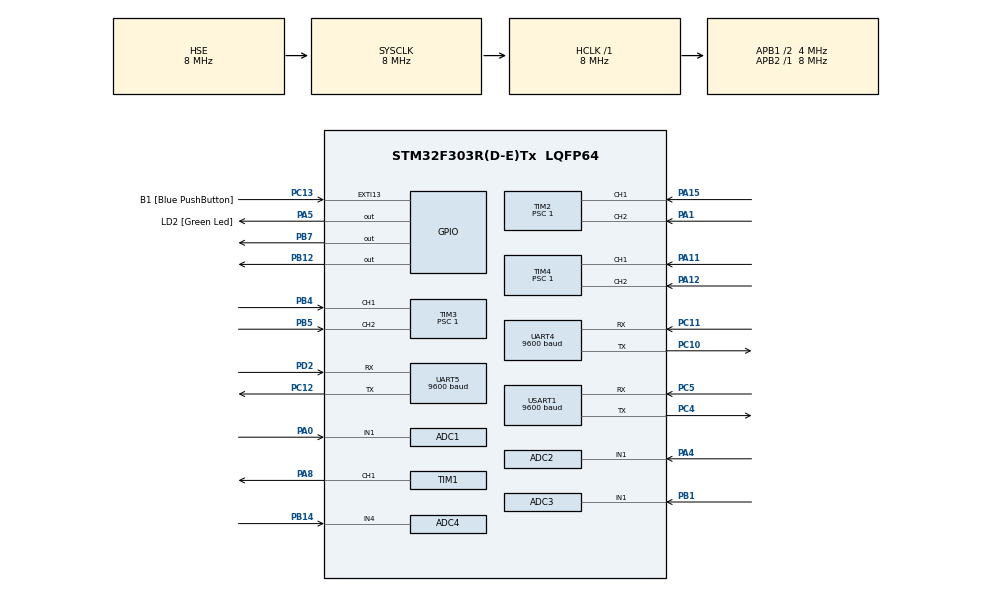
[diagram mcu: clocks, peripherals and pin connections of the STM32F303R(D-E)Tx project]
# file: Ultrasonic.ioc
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ADC1.Channel-0\#ChannelRegularConversion=ADC_CHANNEL_1
ADC1.ContinuousConvMode=DISABLE
ADC1.ExternalTrigConv=ADC_EXTERNALTRIGCONV_T8_TRGO
ADC1.NbrOfConversion=1
ADC1.NbrOfConversionFlag=1
ADC1.Offset-0\#ChannelRegularConversion=0
ADC1.OffsetNumber-0\#ChannelRegularConversion=ADC_OFFSET_NONE
ADC1.Rank-0\#ChannelRegularConversion=1
ADC1.Resolution=ADC_RESOLUTION_10B
ADC1.SamplingTime-0\#ChannelRegularConversion=ADC_SAMPLETIME_1CYCLE_5
ADC1.master=1
ADC2.Channel-0\#ChannelRegularConversion=ADC_CHANNEL_1
ADC2.ExternalTrigConv=ADC_EXTERNALTRIGCONV_T8_TRGO
ADC2.NbrOfConversionFlag=1
ADC2.Offset-0\#ChannelRegularConversion=0
ADC2.OffsetNumber-0\#ChannelRegularConversion=ADC_OFFSET_NONE
ADC2.Rank-0\#ChannelRegularConversion=1
ADC2.Resolution=ADC_RESOLUTION_10B
ADC2.SamplingTime-0\#ChannelRegularConversion=ADC_SAMPLETIME_1CYCLE_5
ADC3.Channel-0\#ChannelRegularConversion=ADC_CHANNEL_1
ADC3.ExternalTrigConv=ADC_EXTERNALTRIGCONV_T8_TRGO
ADC3.NbrOfConversionFlag=1
ADC3.Offset-0\#ChannelRegularConversion=0
ADC3.OffsetNumber-0\#ChannelRegularConversion=ADC_OFFSET_NONE
ADC3.Rank-0\#ChannelRegularConversion=1
ADC3.Resolution=ADC_RESOLUTION_10B
ADC3.SamplingTime-0\#ChannelRegularConversion=ADC_SAMPLETIME_1CYCLE_5
ADC3.master=1
ADC4.Channel-0\#ChannelRegularConversion=ADC_CHANNEL_4
ADC4.ExternalTrigConv=ADC_EXTERNALTRIGCONV_T8_TRGO
ADC4.NbrOfConversionFlag=1
ADC4.Offset-0\#ChannelRegularConversion=0
ADC4.OffsetNumber-0\#ChannelRegularConversion=ADC_OFFSET_NONE
ADC4.Rank-0\#ChannelRegularConversion=1
ADC4.Resolution=ADC_RESOLUTION_10B
ADC4.SamplingTime-0\#ChannelRegularConversion=ADC_SAMPLETIME_1CYCLE_5
Mcu.Family=STM32F3
Mcu.Name=STM32F303R(D-E)Tx
Mcu.Package=LQFP64
NVIC.ADC1_2_IRQn=true\:0\:0\:false\:false\:true\:true\:true
NVIC.ADC3_IRQn=true\:0\:0\:false\:false\:true\:true\:true
NVIC.ADC4_IRQn=true\:0\:0\:false\:false\:true\:true\:true
NVIC.PriorityGroup=NVIC_PRIORITYGROUP_0
NVIC.TIM2_IRQn=true\:0\:0\:false\:false\:true\:true\:true
NVIC.TIM3_IRQn=true\:0\:0\:false\:false\:true\:true\:true
NVIC.TIM4_IRQn=true\:0\:0\:false\:false\:true\:true\:true
NVIC.UART4_IRQn=true\:0\:0\:false\:false\:true\:true\:true
NVIC.UART5_IRQn=true\:0\:0\:false\:false\:true\:true\:true
NVIC.USART1_IRQn=true\:0\:0\:false\:false\:true\:true\:true
PA0.Mode=IN1-Single-Ended
PA0.Signal=ADC1_IN1
PA1.Signal=S_TIM2_CH2
PA11.Signal=S_TIM4_CH1
PA12.Signal=S_TIM4_CH2
PA13.GPIO_Label=TMS
PA13.Mode=Serial_Wire
PA13.Signal=SYS_JTMS-SWDIO
PA14.GPIO_Label=TCK
PA14.Mode=Serial_Wire
PA14.Signal=SYS_JTCK-SWCLK
PA15.Signal=S_TIM2_CH1_ETR
PA2.GPIO_Label=USART_TX
PA2.GPIO_Mode=GPIO_MODE_AF_PP
PA2.GPIO_PuPd=GPIO_NOPULL
PA2.GPIO_Speed=GPIO_SPEED_FREQ_LOW
PA2.Signal=USART2_TX
PA3.GPIO_Label=USART_RX
PA3.GPIO_Mode=GPIO_MODE_AF_PP
PA3.GPIO_PuPd=GPIO_NOPULL
PA3.GPIO_Speed=GPIO_SPEED_FREQ_LOW
PA3.Signal=USART2_RX
PA4.Mode=IN1-Single-Ended
PA4.Signal=ADC2_IN1
PA5.GPIO_Label=LD2 [Green Led]
PA5.GPIO_Mode=GPIO_MODE_OUTPUT_PP
PA5.GPIO_PuPd=GPIO_NOPULL
PA5.GPIO_Speed=GPIO_SPEED_FREQ_LOW
PA5.Signal=GPIO_Output
PA8.Signal=S_TIM1_CH1
PB1.Mode=IN1-Single-Ended
PB1.Signal=ADC3_IN1
PB12.Signal=GPIO_Output
PB14.Mode=IN4-Single-Ended
PB14.Signal=ADC4_IN4
PB3.GPIO_Label=SWO
PB3.Signal=SYS_JTDO-TRACESWO
PB4.Signal=S_TIM3_CH1
PB5.Signal=S_TIM3_CH2
PB7.Signal=GPIO_Output
PC10.Mode=Asynchronous
PC10.Signal=UART4_TX
PC11.Mode=Asynchronous
PC11.Signal=UART4_RX
PC12.Mode=Asynchronous
PC12.Signal=UART5_TX
PC13.GPIO_Label=B1 [Blue PushButton]
PC13.GPIO_ModeDefaultEXTI=GPIO_MODE_IT_FALLING
PC13.Signal=GPXTI13
PC14-OSC32_IN.Mode=LSE-External-Oscillator
PC14-OSC32_IN.Signal=RCC_OSC32_IN
PC15-OSC32_OUT.Mode=LSE-External-Oscillator
PC15-OSC32_OUT.Signal=RCC_OSC32_OUT
PC4.Mode=Asynchronous
PC4.Signal=USART1_TX
PC5.Mode=Asynchronous
PC5.Signal=USART1_RX
PD2.Mode=Asynchronous
PD2.Signal=UART5_RX
PF0-OSC_IN.Mode=HSE-External-Oscillator
PF0-OSC_IN.Signal=RCC_OSC_IN
PF1-OSC_OUT.Mode=HSE-External-Oscillator
PF1-OSC_OUT.Signal=RCC_OSC_OUT
ProjectManager.HeapSize=0x200
ProjectManager.StackSize=0x400
ProjectManager.TargetToolchain=MDK-ARM V5
RCC.AHBFreq_Value=8000000
RCC.APB1CLKDivider=RCC_HCLK_DIV2
RCC.APB1Freq_Value=4000000
RCC.APB1TimFreq_Value=8000000
RCC.APB2Freq_Value=8000000
RCC.APB2TimFreq_Value=8000000
RCC.CortexFreq_Value=8000000
RCC.HCLKFreq_Value=8000000
RCC.HSE_VALUE=8000000
RCC.HSI_VALUE=8000000
RCC.PLLM=8
RCC.PLLMUL=RCC_PLL_MUL9
RCC.PLLN=336
RCC.PLLP=RCC_PLLP_DIV4
RCC.PLLQ=7
RCC.PLLSourceVirtual=RCC_PLLSOURCE_HSE
RCC.RCC_PLLsource_Clock_Source_FROM_HSE=RCC_HSE_PREDIV_DIV2
RCC.SYSCLKFreq_VALUE=8000000
RCC.SYSCLKSourceVirtual=RCC_SYSCLKSOURCE_HSE
RCC.USBFreq_Value=72000000
SH.S_TIM1_CH1.0=TIM1_CH1,PWM Generation1 CH1
SH.S_TIM2_CH1_ETR.0=TIM2_CH1,Input_Capture1_from_TI1
SH.S_TIM2_CH1_ETR.1=TIM2_CH1,TriggerSource_TI1FP1
SH.S_TIM2_CH2.0=TIM2_CH2,Input_Capture2_from_TI2
SH.S_TIM3_CH1.0=TIM3_CH1,TriggerSource_TI1FP1
SH.S_TIM3_CH1.1=TIM3_CH1,Input_Capture1_from_TI1
SH.S_TIM3_CH2.0=TIM3_CH2,Input_Capture2_from_TI2
SH.S_TIM4_CH1.0=TIM4_CH1,Input_Capture1_from_TI1
SH.S_TIM4_CH1.1=TIM4_CH1,TriggerSource_TI1FP1
SH.S_TIM4_CH2.0=TIM4_CH2,Input_Capture2_from_TI2
TIM1.Channel-PWM\ Generation1\ CH1=TIM_CHANNEL_1
TIM1.Period=49999
TIM1.Prescaler=15
TIM2.Channel-Input_Capture1_from_TI1=TIM_CHANNEL_1
TIM2.Channel-Input_Capture2_from_TI2=TIM_CHANNEL_2
TIM2.ICPolarity_CH2=TIM_INPUTCHANNELPOLARITY_FALLING
TIM2.Period=65000
TIM2.Prescaler=1
TIM3.Channel-Input_Capture1_from_TI1=TIM_CHANNEL_1
TIM3.Channel-Input_Capture2_from_TI2=TIM_CHANNEL_2
TIM3.ICPolarity_CH2=TIM_INPUTCHANNELPOLARITY_FALLING
TIM3.Period=65000
TIM3.Prescaler=1
TIM4.Channel-Input_Capture1_from_TI1=TIM_CHANNEL_1
TIM4.Channel-Input_Capture2_from_TI2=TIM_CHANNEL_2
TIM4.ICPolarity_CH2=TIM_INPUTCHANNELPOLARITY_FALLING
TIM4.Period=65000
TIM4.Prescaler=1
TIM8.Period=79
TIM8.Prescaler=79
TIM8.TIM_MasterOutputTrigger=TIM_TRGO_UPDATE
UART4.BaudRate=9600
UART5.BaudRate=9600
USART1.BaudRate=9600
USART1.VirtualMode-Asynchronous=VM_ASYNC
VP_TIM1_VS_ClockSourceINT.Mode=Internal
VP_TIM2_VS_ClockSourceINT.Mode=Internal
VP_TIM2_VS_ControllerModeReset.Mode=Reset Mode
VP_TIM3_VS_ClockSourceINT.Mode=Internal
VP_TIM3_VS_ControllerModeReset.Mode=Reset Mode
VP_TIM4_VS_ClockSourceINT.Mode=Internal
VP_TIM4_VS_ControllerModeReset.Mode=Reset Mode
VP_TIM8_VS_ClockSourceINT.Mode=Internal
board=NUCLEO-F303RE

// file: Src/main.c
/* USER CODE BEGIN Header */
/**
  ******************************************************************************
  * @file           : main.c
  * @brief          : Main program body
  ******************************************************************************
  * @attention
  *
  * <h2><center>&copy; Copyright (c) 2019 STMicroelectronics.
  * All rights reserved.</center></h2>
  *
  * This software component is licensed by ST under BSD 3-Clause license,
  * the "License"; You may not use this file except in compliance with the
  * License. You may obtain a copy of the License at:
  *                        opensource.org/licenses/BSD-3-Clause
  *
  ******************************************************************************
  */
/* USER CODE END Header */

#include "main.h"

/* USER CODE BEGIN Includes */
#include <stdio.h>
/* USER CODE END Includes */

ADC_HandleTypeDef hadc1;
ADC_HandleTypeDef hadc2;
ADC_HandleTypeDef hadc3;
ADC_HandleTypeDef hadc4;

TIM_HandleTypeDef htim1;
TIM_HandleTypeDef htim2;
TIM_HandleTypeDef htim3;
TIM_HandleTypeDef htim4;
TIM_HandleTypeDef htim8;

UART_HandleTypeDef huart4;
UART_HandleTypeDef huart5;
UART_HandleTypeDef huart1;

/* USER CODE BEGIN PV */
	float duty1 = 0.01;
	int period;
	float dist_l;
	float dist_s;
	float dist_r;
	float Capture_1_l;
	float Capture_2_l;
	float Capture_1_s;
	float Capture_2_s;
	float Capture_1_r;
	float Capture_2_r;
	float x;
	float y;
	float z;
	float A_x;
	float A_y;
	float A_z;
	uint8_t data[100];
	uint8_t location[500];
	uint8_t sms_cnfg[]="AT+CMGF=1\r\n";
	uint8_t sms_MSG_SET[]="AT+CNMI=2,1,0,0,0\r\n";
	uint8_t sms_NUM[] ="AT+CMGS=\"+919550670990\"\r\n";
	uint8_t text[] = "GSM STM TEST!!!\r\n";
	char send[] = {26};
	uint8_t test[800];
/* USER CODE END PV */

void SystemClock_Config(void);
static void MX_GPIO_Init(void);
static void MX_TIM1_Init(void);
static void MX_TIM2_Init(void);
static void MX_TIM3_Init(void);
static void MX_TIM4_Init(void);
static void MX_ADC1_Init(void);
static void MX_TIM8_Init(void);
static void MX_ADC2_Init(void);
static void MX_ADC3_Init(void);
static void MX_UART4_Init(void);
static void MX_ADC4_Init(void);
static void MX_USART1_UART_Init(void);
static void MX_UART5_Init(void);
/* USER CODE BEGIN PFP */
void getLocation(){
	HAL_UART_Receive_IT(&huart4,data,500);
}

void frontObstacle(){
			HAL_GPIO_WritePin(GPIOB,GPIO_PIN_12,GPIO_PIN_SET);
			HAL_Delay(3000);
			HAL_GPIO_WritePin(GPIOB,GPIO_PIN_12,GPIO_PIN_RESET);
}

void leftObstacle(){
			HAL_GPIO_WritePin(GPIOB,GPIO_PIN_12,GPIO_PIN_SET);
			HAL_Delay(500);
			HAL_GPIO_WritePin(GPIOB,GPIO_PIN_12,GPIO_PIN_RESET);
			HAL_Delay(500);
			HAL_GPIO_WritePin(GPIOB,GPIO_PIN_12,GPIO_PIN_SET);
			HAL_Delay(1500);
			HAL_GPIO_WritePin(GPIOB,GPIO_PIN_12,GPIO_PIN_RESET);
}

void rightObstacle(){
			HAL_GPIO_WritePin(GPIOB,GPIO_PIN_12,GPIO_PIN_SET);
			HAL_Delay(500);
			HAL_GPIO_WritePin(GPIOB,GPIO_PIN_12,GPIO_PIN_RESET);
			HAL_Delay(500);
			HAL_GPIO_WritePin(GPIOB,GPIO_PIN_12,GPIO_PIN_SET);
			HAL_Delay(500);
			HAL_GPIO_WritePin(GPIOB,GPIO_PIN_12,GPIO_PIN_RESET);
}

void sendSMS(){
			HAL_UART_Transmit_IT(&huart5,sms_NUM,sizeof(sms_NUM));
			HAL_Delay(100);
			HAL_UART_Receive_IT(&huart5,test,sizeof(test));
			HAL_Delay(100);
			HAL_UART_Transmit_IT(&huart5,data,sizeof(text));
			HAL_Delay(100);
			HAL_UART_Transmit_IT(&huart5,(uint8_t*)send,sizeof(send));
			HAL_Delay(100);
}
/* USER CODE END PFP */

/* USER CODE BEGIN 0 */
	void HAL_TIM_IC_CaptureCallback(TIM_HandleTypeDef *htim)
	{
  //Capturing distance on the left side
	if(htim->Channel == HAL_TIM_ACTIVE_CHANNEL_1)
	{
		Capture_1_l = HAL_TIM_ReadCapturedValue(&htim2,TIM_CHANNEL_1);
	}

  if(htim->Channel == HAL_TIM_ACTIVE_CHANNEL_2)
	{
		Capture_2_l = HAL_TIM_ReadCapturedValue(&htim2,TIM_CHANNEL_2);
		dist_l = (Capture_2_l/(2*4000000))*34000;
	}
	//Capturing distance right in front
	if(htim->Channel == HAL_TIM_ACTIVE_CHANNEL_1)
	{
		Capture_1_s = HAL_TIM_ReadCapturedValue(&htim4,TIM_CHANNEL_1);
	}

  if(htim->Channel == HAL_TIM_ACTIVE_CHANNEL_2)
	{
		Capture_2_s = HAL_TIM_ReadCapturedValue(&htim4,TIM_CHANNEL_2);
		dist_s = (Capture_2_s/(2*4000000))*34000;
	}
	//Capturing distance on the right side
	if(htim->Channel == HAL_TIM_ACTIVE_CHANNEL_1)
	{
		Capture_1_r = HAL_TIM_ReadCapturedValue(&htim3,TIM_CHANNEL_1);
	}

  if(htim->Channel == HAL_TIM_ACTIVE_CHANNEL_2)
	{
		Capture_2_r = HAL_TIM_ReadCapturedValue(&htim3,TIM_CHANNEL_2);
		dist_r = (Capture_2_r/(2*4000000))*34000;
	}

}

void HAL_ADC_ConvCpltCallback(ADC_HandleTypeDef* hadc)
 {
	if(hadc->Instance == ADC4)
		 {
			 HAL_ADC_PollForConversion(&hadc4,100);
			 x=HAL_ADC_GetValue(&hadc4);
			 A_x = ((((x*3.3)/1024)-1.65)/0.330);
		 }
	if(hadc->Instance == ADC2)
			{
			 HAL_ADC_PollForConversion(&hadc2,100);
			 y=HAL_ADC_GetValue(&hadc2);
				A_y = ((((y*3.3)/1024)-1.65)/0.330);
  		}
	if(hadc->Instance == ADC3)
	{
			 HAL_ADC_PollForConversion(&hadc3,100);
			 z=HAL_ADC_GetValue(&hadc3);
			A_z = ((((z*3.3)/1024)-1.65)/0.330);
	}

 }

/* USER CODE END 0 */

int main(void)
{

  /* MCU Configuration--------------------------------------------------------*/

  /* Reset of all peripherals, Initializes the Flash interface and the Systick. */
  HAL_Init();

  /* Configure the system clock */
  SystemClock_Config();

  /* Initialize all configured peripherals */
  MX_GPIO_Init();
  MX_TIM1_Init();
  MX_TIM2_Init();
  MX_TIM3_Init();
  MX_TIM4_Init();
  MX_ADC1_Init();
  MX_TIM8_Init();
  MX_ADC2_Init();
  MX_ADC3_Init();
  MX_UART4_Init();
  MX_ADC4_Init();
  MX_USART1_UART_Init();
  MX_UART5_Init();
  /* USER CODE BEGIN 2 */
		HAL_TIM_PWM_Start(&htim1,TIM_CHANNEL_1);
		period = htim1.Init.Period+1;
		TIM1->CCR1=duty1*period/100;
		HAL_TIM_IC_Start_IT(&htim2,TIM_CHANNEL_1);
		HAL_TIM_IC_Start_IT(&htim2,TIM_CHANNEL_2);
		HAL_TIM_IC_Start_IT(&htim4,TIM_CHANNEL_1);
		HAL_TIM_IC_Start_IT(&htim4,TIM_CHANNEL_2);
		HAL_TIM_IC_Start_IT(&htim3,TIM_CHANNEL_1);
		HAL_TIM_IC_Start_IT(&htim3,TIM_CHANNEL_2);
		HAL_TIM_Base_Start(&htim8);
		HAL_ADC_Start_IT(&hadc1);
		HAL_ADC_Start_IT(&hadc2);
		HAL_ADC_Start_IT(&hadc3);
		HAL_ADC_Start_IT(&hadc4);
  /* USER CODE END 2 */

  /* Infinite loop */
  /* USER CODE BEGIN WHILE */

  while (1)
  {
	HAL_UART_Receive_IT(&huart4,data,100);
		if (dist_l<30){
			leftObstacle();
		}

		if (dist_s<30){
			frontObstacle();
		}

		if (dist_r<30){
			rightObstacle();
			}

	if(A_z>1.5){
			HAL_Delay(5000);
			if(A_z>0.8){
			//getLocation();
			HAL_GPIO_WritePin(GPIOB,GPIO_PIN_7,GPIO_PIN_SET);
			HAL_Delay(1000);
			HAL_GPIO_WritePin(GPIOB,GPIO_PIN_7,GPIO_PIN_RESET);
			//HAL_UART_Receive_IT(&huart4,data,500);
			printf("%s\n",data);
			sendSMS();
	}else{}}

		if(A_z<-1.5){
			HAL_Delay(5000);
			if(A_z<-0.8){
			//getLocation();
			HAL_GPIO_WritePin(GPIOB,GPIO_PIN_7,GPIO_PIN_SET);
			HAL_Delay(1000);
			HAL_GPIO_WritePin(GPIOB,GPIO_PIN_7,GPIO_PIN_RESET);
			//HAL_UART_Receive_IT(&huart4,data,500);
			printf("%s\n",data);
			sendSMS();
	}else{}}

		if(A_y>1.5){
			HAL_Delay(5000);
			if(A_y>0.8){
			//getLocation();
			HAL_GPIO_WritePin(GPIOB,GPIO_PIN_7,GPIO_PIN_SET);
			HAL_Delay(1000);
			HAL_GPIO_WritePin(GPIOB,GPIO_PIN_7,GPIO_PIN_RESET);
			//HAL_UART_Receive_IT(&huart4,data,500);
			printf("%s\n",data);
			sendSMS();
		}else{}}

		if(A_y<-1.5){
			HAL_Delay(5000);
			if(A_y<-0.8){
			//getLocation();
			HAL_GPIO_WritePin(GPIOB,GPIO_PIN_7,GPIO_PIN_SET);
			HAL_Delay(1000);
			HAL_GPIO_WritePin(GPIOB,GPIO_PIN_7,GPIO_PIN_RESET);
			//HAL_UART_Receive_IT(&huart4,data,500);
			printf("%s\n",data);
			sendSMS();
	}else{}}

    /* USER CODE END WHILE */

	}
}

void SystemClock_Config(void)
{
  RCC_OscInitTypeDef RCC_OscInitStruct = {0};
  RCC_ClkInitTypeDef RCC_ClkInitStruct = {0};
  RCC_PeriphCLKInitTypeDef PeriphClkInit = {0};

  /** Initializes the CPU, AHB and APB busses clocks
  */
  RCC_OscInitStruct.OscillatorType = RCC_OSCILLATORTYPE_HSE;
  RCC_OscInitStruct.HSEState = RCC_HSE_ON;
  RCC_OscInitStruct.HSIState = RCC_HSI_ON;
  RCC_OscInitStruct.PLL.PLLState = RCC_PLL_ON;
  RCC_OscInitStruct.PLL.PLLSource = RCC_PLLSOURCE_HSE;
  RCC_OscInitStruct.PLL.PLLMUL = RCC_PLL_MUL9;
  RCC_OscInitStruct.PLL.PREDIV = RCC_PREDIV_DIV1;
  if (HAL_RCC_OscConfig(&RCC_OscInitStruct) != HAL_OK)
  {
    Error_Handler();
  }
  /** Initializes the CPU, AHB and APB busses clocks
  */
  RCC_ClkInitStruct.ClockType = RCC_CLOCKTYPE_HCLK|RCC_CLOCKTYPE_SYSCLK
                              |RCC_CLOCKTYPE_PCLK1|RCC_CLOCKTYPE_PCLK2;
  RCC_ClkInitStruct.SYSCLKSource = RCC_SYSCLKSOURCE_HSE;
  RCC_ClkInitStruct.AHBCLKDivider = RCC_SYSCLK_DIV1;
  RCC_ClkInitStruct.APB1CLKDivider = RCC_HCLK_DIV2;
  RCC_ClkInitStruct.APB2CLKDivider = RCC_HCLK_DIV1;

  if (HAL_RCC_ClockConfig(&RCC_ClkInitStruct, FLASH_LATENCY_0) != HAL_OK)
  {
    Error_Handler();
  }
  PeriphClkInit.PeriphClockSelection = RCC_PERIPHCLK_USART1|RCC_PERIPHCLK_UART4
                              |RCC_PERIPHCLK_UART5|RCC_PERIPHCLK_TIM1
                              |RCC_PERIPHCLK_TIM8|RCC_PERIPHCLK_ADC12
                              |RCC_PERIPHCLK_ADC34|RCC_PERIPHCLK_TIM2
                              |RCC_PERIPHCLK_TIM34;
  PeriphClkInit.Usart1ClockSelection = RCC_USART1CLKSOURCE_PCLK2;
  PeriphClkInit.Uart4ClockSelection = RCC_UART4CLKSOURCE_PCLK1;
  PeriphClkInit.Uart5ClockSelection = RCC_UART5CLKSOURCE_PCLK1;
  PeriphClkInit.Adc12ClockSelection = RCC_ADC12PLLCLK_DIV1;
  PeriphClkInit.Adc34ClockSelection = RCC_ADC34PLLCLK_DIV1;
  PeriphClkInit.Tim1ClockSelection = RCC_TIM1CLK_HCLK;
  PeriphClkInit.Tim8ClockSelection = RCC_TIM8CLK_HCLK;
  PeriphClkInit.Tim2ClockSelection = RCC_TIM2CLK_HCLK;
  PeriphClkInit.Tim34ClockSelection = RCC_TIM34CLK_HCLK;
  if (HAL_RCCEx_PeriphCLKConfig(&PeriphClkInit) != HAL_OK)
  {
    Error_Handler();
  }
}

static void MX_ADC1_Init(void)
{

  ADC_MultiModeTypeDef multimode = {0};
  ADC_ChannelConfTypeDef sConfig = {0};

  /** Common config
  */
  hadc1.Instance = ADC1;
  hadc1.Init.ClockPrescaler = ADC_CLOCK_ASYNC_DIV1;
  hadc1.Init.Resolution = ADC_RESOLUTION_10B;
  hadc1.Init.ScanConvMode = ADC_SCAN_DISABLE;
  hadc1.Init.ContinuousConvMode = DISABLE;
  hadc1.Init.DiscontinuousConvMode = DISABLE;
  hadc1.Init.ExternalTrigConvEdge = ADC_EXTERNALTRIGCONVEDGE_RISING;
  hadc1.Init.ExternalTrigConv = ADC_EXTERNALTRIGCONV_T8_TRGO;
  hadc1.Init.DataAlign = ADC_DATAALIGN_RIGHT;
  hadc1.Init.NbrOfConversion = 1;
  hadc1.Init.DMAContinuousRequests = DISABLE;
  hadc1.Init.EOCSelection = ADC_EOC_SINGLE_CONV;
  hadc1.Init.LowPowerAutoWait = DISABLE;
  hadc1.Init.Overrun = ADC_OVR_DATA_OVERWRITTEN;
  if (HAL_ADC_Init(&hadc1) != HAL_OK)
  {
    Error_Handler();
  }
  /** Configure the ADC multi-mode
  */
  multimode.Mode = ADC_MODE_INDEPENDENT;
  if (HAL_ADCEx_MultiModeConfigChannel(&hadc1, &multimode) != HAL_OK)
  {
    Error_Handler();
  }
  /** Configure Regular Channel
  */
  sConfig.Channel = ADC_CHANNEL_1;
  sConfig.Rank = ADC_REGULAR_RANK_1;
  sConfig.SingleDiff = ADC_SINGLE_ENDED;
  sConfig.SamplingTime = ADC_SAMPLETIME_1CYCLE_5;
  sConfig.OffsetNumber = ADC_OFFSET_NONE;
  sConfig.Offset = 0;
  if (HAL_ADC_ConfigChannel(&hadc1, &sConfig) != HAL_OK)
  {
    Error_Handler();
  }

}

static void MX_ADC2_Init(void)
{

  ADC_ChannelConfTypeDef sConfig = {0};

  /** Common config
  */
  hadc2.Instance = ADC2;
  hadc2.Init.ClockPrescaler = ADC_CLOCK_ASYNC_DIV1;
  hadc2.Init.Resolution = ADC_RESOLUTION_10B;
  hadc2.Init.ScanConvMode = ADC_SCAN_DISABLE;
  hadc2.Init.ContinuousConvMode = DISABLE;
  hadc2.Init.DiscontinuousConvMode = DISABLE;
  hadc2.Init.ExternalTrigConvEdge = ADC_EXTERNALTRIGCONVEDGE_RISING;
  hadc2.Init.ExternalTrigConv = ADC_EXTERNALTRIGCONV_T8_TRGO;
  hadc2.Init.DataAlign = ADC_DATAALIGN_RIGHT;
  hadc2.Init.NbrOfConversion = 1;
  hadc2.Init.DMAContinuousRequests = DISABLE;
  hadc2.Init.EOCSelection = ADC_EOC_SINGLE_CONV;
  hadc2.Init.LowPowerAutoWait = DISABLE;
  hadc2.Init.Overrun = ADC_OVR_DATA_OVERWRITTEN;
  if (HAL_ADC_Init(&hadc2) != HAL_OK)
  {
    Error_Handler();
  }
  /** Configure Regular Channel
  */
  sConfig.Channel = ADC_CHANNEL_1;
  sConfig.Rank = ADC_REGULAR_RANK_1;
  sConfig.SingleDiff = ADC_SINGLE_ENDED;
  sConfig.SamplingTime = ADC_SAMPLETIME_1CYCLE_5;
  sConfig.OffsetNumber = ADC_OFFSET_NONE;
  sConfig.Offset = 0;
  if (HAL_ADC_ConfigChannel(&hadc2, &sConfig) != HAL_OK)
  {
    Error_Handler();
  }

}

static void MX_ADC3_Init(void)
{

  ADC_MultiModeTypeDef multimode = {0};
  ADC_ChannelConfTypeDef sConfig = {0};

  /** Common config
  */
  hadc3.Instance = ADC3;
  hadc3.Init.ClockPrescaler = ADC_CLOCK_ASYNC_DIV1;
  hadc3.Init.Resolution = ADC_RESOLUTION_10B;
  hadc3.Init.ScanConvMode = ADC_SCAN_DISABLE;
  hadc3.Init.ContinuousConvMode = DISABLE;
  hadc3.Init.DiscontinuousConvMode = DISABLE;
  hadc3.Init.ExternalTrigConvEdge = ADC_EXTERNALTRIGCONVEDGE_RISING;
  hadc3.Init.ExternalTrigConv = ADC_EXTERNALTRIGCONV_T8_TRGO;
  hadc3.Init.DataAlign = ADC_DATAALIGN_RIGHT;
  hadc3.Init.NbrOfConversion = 1;
  hadc3.Init.DMAContinuousRequests = DISABLE;
  hadc3.Init.EOCSelection = ADC_EOC_SINGLE_CONV;
  hadc3.Init.LowPowerAutoWait = DISABLE;
  hadc3.Init.Overrun = ADC_OVR_DATA_OVERWRITTEN;
  if (HAL_ADC_Init(&hadc3) != HAL_OK)
  {
    Error_Handler();
  }
  /** Configure the ADC multi-mode
  */
  multimode.Mode = ADC_MODE_INDEPENDENT;
  if (HAL_ADCEx_MultiModeConfigChannel(&hadc3, &multimode) != HAL_OK)
  {
    Error_Handler();
  }
  /** Configure Regular Channel
  */
  sConfig.Channel = ADC_CHANNEL_1;
  sConfig.Rank = ADC_REGULAR_RANK_1;
  sConfig.SingleDiff = ADC_SINGLE_ENDED;
  sConfig.SamplingTime = ADC_SAMPLETIME_1CYCLE_5;
  sConfig.OffsetNumber = ADC_OFFSET_NONE;
  sConfig.Offset = 0;
  if (HAL_ADC_ConfigChannel(&hadc3, &sConfig) != HAL_OK)
  {
    Error_Handler();
  }

}

static void MX_ADC4_Init(void)
{

  ADC_ChannelConfTypeDef sConfig = {0};

  /** Common config
  */
  hadc4.Instance = ADC4;
  hadc4.Init.ClockPrescaler = ADC_CLOCK_ASYNC_DIV1;
  hadc4.Init.Resolution = ADC_RESOLUTION_10B;
  hadc4.Init.ScanConvMode = ADC_SCAN_DISABLE;
  hadc4.Init.ContinuousConvMode = DISABLE;
  hadc4.Init.DiscontinuousConvMode = DISABLE;
  hadc4.Init.ExternalTrigConvEdge = ADC_EXTERNALTRIGCONVEDGE_RISING;
  hadc4.Init.ExternalTrigConv = ADC_EXTERNALTRIGCONV_T8_TRGO;
  hadc4.Init.DataAlign = ADC_DATAALIGN_RIGHT;
  hadc4.Init.NbrOfConversion = 1;
  hadc4.Init.DMAContinuousRequests = DISABLE;
  hadc4.Init.EOCSelection = ADC_EOC_SINGLE_CONV;
  hadc4.Init.LowPowerAutoWait = DISABLE;
  hadc4.Init.Overrun = ADC_OVR_DATA_OVERWRITTEN;
  if (HAL_ADC_Init(&hadc4) != HAL_OK)
  {
    Error_Handler();
  }
  /** Configure Regular Channel
  */
  sConfig.Channel = ADC_CHANNEL_4;
  sConfig.Rank = ADC_REGULAR_RANK_1;
  sConfig.SingleDiff = ADC_SINGLE_ENDED;
  sConfig.SamplingTime = ADC_SAMPLETIME_1CYCLE_5;
  sConfig.OffsetNumber = ADC_OFFSET_NONE;
  sConfig.Offset = 0;
  if (HAL_ADC_ConfigChannel(&hadc4, &sConfig) != HAL_OK)
  {
    Error_Handler();
  }

}

static void MX_TIM1_Init(void)
{

  TIM_ClockConfigTypeDef sClockSourceConfig = {0};
  TIM_MasterConfigTypeDef sMasterConfig = {0};
  TIM_OC_InitTypeDef sConfigOC = {0};
  TIM_BreakDeadTimeConfigTypeDef sBreakDeadTimeConfig = {0};

  htim1.Instance = TIM1;
  htim1.Init.Prescaler = 15;
  htim1.Init.CounterMode = TIM_COUNTERMODE_UP;
  htim1.Init.Period = 49999;
  htim1.Init.ClockDivision = TIM_CLOCKDIVISION_DIV1;
  htim1.Init.RepetitionCounter = 0;
  htim1.Init.AutoReloadPreload = TIM_AUTORELOAD_PRELOAD_DISABLE;
  if (HAL_TIM_Base_Init(&htim1) != HAL_OK)
  {
    Error_Handler();
  }
  sClockSourceConfig.ClockSource = TIM_CLOCKSOURCE_INTERNAL;
  if (HAL_TIM_ConfigClockSource(&htim1, &sClockSourceConfig) != HAL_OK)
  {
    Error_Handler();
  }
  if (HAL_TIM_PWM_Init(&htim1) != HAL_OK)
  {
    Error_Handler();
  }
  sMasterConfig.MasterOutputTrigger = TIM_TRGO_RESET;
  sMasterConfig.MasterOutputTrigger2 = TIM_TRGO2_RESET;
  sMasterConfig.MasterSlaveMode = TIM_MASTERSLAVEMODE_DISABLE;
  if (HAL_TIMEx_MasterConfigSynchronization(&htim1, &sMasterConfig) != HAL_OK)
  {
    Error_Handler();
  }
  sConfigOC.OCMode = TIM_OCMODE_PWM1;
  sConfigOC.Pulse = 0;
  sConfigOC.OCPolarity = TIM_OCPOLARITY_HIGH;
  sConfigOC.OCNPolarity = TIM_OCNPOLARITY_HIGH;
  sConfigOC.OCFastMode = TIM_OCFAST_DISABLE;
  sConfigOC.OCIdleState = TIM_OCIDLESTATE_RESET;
  sConfigOC.OCNIdleState = TIM_OCNIDLESTATE_RESET;
  if (HAL_TIM_PWM_ConfigChannel(&htim1, &sConfigOC, TIM_CHANNEL_1) != HAL_OK)
  {
    Error_Handler();
  }
  sBreakDeadTimeConfig.OffStateRunMode = TIM_OSSR_DISABLE;
  sBreakDeadTimeConfig.OffStateIDLEMode = TIM_OSSI_DISABLE;
  sBreakDeadTimeConfig.LockLevel = TIM_LOCKLEVEL_OFF;
  sBreakDeadTimeConfig.DeadTime = 0;
  sBreakDeadTimeConfig.BreakState = TIM_BREAK_DISABLE;
  sBreakDeadTimeConfig.BreakPolarity = TIM_BREAKPOLARITY_HIGH;
  sBreakDeadTimeConfig.BreakFilter = 0;
  sBreakDeadTimeConfig.Break2State = TIM_BREAK2_DISABLE;
  sBreakDeadTimeConfig.Break2Polarity = TIM_BREAK2POLARITY_HIGH;
  sBreakDeadTimeConfig.Break2Filter = 0;
  sBreakDeadTimeConfig.AutomaticOutput = TIM_AUTOMATICOUTPUT_DISABLE;
  if (HAL_TIMEx_ConfigBreakDeadTime(&htim1, &sBreakDeadTimeConfig) != HAL_OK)
  {
    Error_Handler();
  }
  HAL_TIM_MspPostInit(&htim1);

}

static void MX_TIM2_Init(void)
{

  TIM_ClockConfigTypeDef sClockSourceConfig = {0};
  TIM_SlaveConfigTypeDef sSlaveConfig = {0};
  TIM_MasterConfigTypeDef sMasterConfig = {0};
  TIM_IC_InitTypeDef sConfigIC = {0};

  htim2.Instance = TIM2;
  htim2.Init.Prescaler = 1;
  htim2.Init.CounterMode = TIM_COUNTERMODE_UP;
  htim2.Init.Period = 65000;
  htim2.Init.ClockDivision = TIM_CLOCKDIVISION_DIV1;
  htim2.Init.AutoReloadPreload = TIM_AUTORELOAD_PRELOAD_DISABLE;
  if (HAL_TIM_Base_Init(&htim2) != HAL_OK)
  {
    Error_Handler();
  }
  sClockSourceConfig.ClockSource = TIM_CLOCKSOURCE_INTERNAL;
  if (HAL_TIM_ConfigClockSource(&htim2, &sClockSourceConfig) != HAL_OK)
  {
    Error_Handler();
  }
  if (HAL_TIM_IC_Init(&htim2) != HAL_OK)
  {
    Error_Handler();
  }
  sSlaveConfig.SlaveMode = TIM_SLAVEMODE_RESET;
  sSlaveConfig.InputTrigger = TIM_TS_TI1FP1;
  sSlaveConfig.TriggerPolarity = TIM_INPUTCHANNELPOLARITY_RISING;
  sSlaveConfig.TriggerFilter = 0;
  if (HAL_TIM_SlaveConfigSynchronization(&htim2, &sSlaveConfig) != HAL_OK)
  {
    Error_Handler();
  }
  sMasterConfig.MasterOutputTrigger = TIM_TRGO_RESET;
  sMasterConfig.MasterSlaveMode = TIM_MASTERSLAVEMODE_DISABLE;
  if (HAL_TIMEx_MasterConfigSynchronization(&htim2, &sMasterConfig) != HAL_OK)
  {
    Error_Handler();
  }
  sConfigIC.ICPolarity = TIM_INPUTCHANNELPOLARITY_RISING;
  sConfigIC.ICSelection = TIM_ICSELECTION_DIRECTTI;
  sConfigIC.ICPrescaler = TIM_ICPSC_DIV1;
  sConfigIC.ICFilter = 0;
  if (HAL_TIM_IC_ConfigChannel(&htim2, &sConfigIC, TIM_CHANNEL_1) != HAL_OK)
  {
    Error_Handler();
  }
  sConfigIC.ICPolarity = TIM_INPUTCHANNELPOLARITY_FALLING;
  if (HAL_TIM_IC_ConfigChannel(&htim2, &sConfigIC, TIM_CHANNEL_2) != HAL_OK)
  {
    Error_Handler();
  }

}

static void MX_TIM3_Init(void)
{

  TIM_ClockConfigTypeDef sClockSourceConfig = {0};
  TIM_SlaveConfigTypeDef sSlaveConfig = {0};
  TIM_MasterConfigTypeDef sMasterConfig = {0};
  TIM_IC_InitTypeDef sConfigIC = {0};

  htim3.Instance = TIM3;
  htim3.Init.Prescaler = 1;
  htim3.Init.CounterMode = TIM_COUNTERMODE_UP;
  htim3.Init.Period = 65000;
  htim3.Init.ClockDivision = TIM_CLOCKDIVISION_DIV1;
  htim3.Init.AutoReloadPreload = TIM_AUTORELOAD_PRELOAD_DISABLE;
  if (HAL_TIM_Base_Init(&htim3) != HAL_OK)
  {
    Error_Handler();
  }
  sClockSourceConfig.ClockSource = TIM_CLOCKSOURCE_INTERNAL;
  if (HAL_TIM_ConfigClockSource(&htim3, &sClockSourceConfig) != HAL_OK)
  {
    Error_Handler();
  }
  if (HAL_TIM_IC_Init(&htim3) != HAL_OK)
  {
    Error_Handler();
  }
  sSlaveConfig.SlaveMode = TIM_SLAVEMODE_RESET;
  sSlaveConfig.InputTrigger = TIM_TS_TI1FP1;
  sSlaveConfig.TriggerPolarity = TIM_INPUTCHANNELPOLARITY_RISING;
  sSlaveConfig.TriggerFilter = 0;
  if (HAL_TIM_SlaveConfigSynchronization(&htim3, &sSlaveConfig) != HAL_OK)
  {
    Error_Handler();
  }
  sMasterConfig.MasterOutputTrigger = TIM_TRGO_RESET;
  sMasterConfig.MasterSlaveMode = TIM_MASTERSLAVEMODE_DISABLE;
  if (HAL_TIMEx_MasterConfigSynchronization(&htim3, &sMasterConfig) != HAL_OK)
  {
    Error_Handler();
  }
  sConfigIC.ICPolarity = TIM_INPUTCHANNELPOLARITY_RISING;
  sConfigIC.ICSelection = TIM_ICSELECTION_DIRECTTI;
  sConfigIC.ICPrescaler = TIM_ICPSC_DIV1;
  sConfigIC.ICFilter = 0;
  if (HAL_TIM_IC_ConfigChannel(&htim3, &sConfigIC, TIM_CHANNEL_1) != HAL_OK)
  {
    Error_Handler();
  }
  sConfigIC.ICPolarity = TIM_INPUTCHANNELPOLARITY_FALLING;
  if (HAL_TIM_IC_ConfigChannel(&htim3, &sConfigIC, TIM_CHANNEL_2) != HAL_OK)
  {
    Error_Handler();
  }

}

static void MX_TIM4_Init(void)
{

  TIM_ClockConfigTypeDef sClockSourceConfig = {0};
  TIM_SlaveConfigTypeDef sSlaveConfig = {0};
  TIM_MasterConfigTypeDef sMasterConfig = {0};
  TIM_IC_InitTypeDef sConfigIC = {0};

  htim4.Instance = TIM4;
  htim4.Init.Prescaler = 1;
  htim4.Init.CounterMode = TIM_COUNTERMODE_UP;
  htim4.Init.Period = 65000;
  htim4.Init.ClockDivision = TIM_CLOCKDIVISION_DIV1;
  htim4.Init.AutoReloadPreload = TIM_AUTORELOAD_PRELOAD_DISABLE;
  if (HAL_TIM_Base_Init(&htim4) != HAL_OK)
  {
    Error_Handler();
  }
  sClockSourceConfig.ClockSource = TIM_CLOCKSOURCE_INTERNAL;
  if (HAL_TIM_ConfigClockSource(&htim4, &sClockSourceConfig) != HAL_OK)
  {
    Error_Handler();
  }
  if (HAL_TIM_IC_Init(&htim4) != HAL_OK)
  {
    Error_Handler();
  }
  sSlaveConfig.SlaveMode = TIM_SLAVEMODE_RESET;
  sSlaveConfig.InputTrigger = TIM_TS_TI1FP1;
  sSlaveConfig.TriggerPolarity = TIM_INPUTCHANNELPOLARITY_RISING;
  sSlaveConfig.TriggerFilter = 0;
  if (HAL_TIM_SlaveConfigSynchronization(&htim4, &sSlaveConfig) != HAL_OK)
  {
    Error_Handler();
  }
  sMasterConfig.MasterOutputTrigger = TIM_TRGO_RESET;
  sMasterConfig.MasterSlaveMode = TIM_MASTERSLAVEMODE_DISABLE;
  if (HAL_TIMEx_MasterConfigSynchronization(&htim4, &sMasterConfig) != HAL_OK)
  {
    Error_Handler();
  }
  sConfigIC.ICPolarity = TIM_INPUTCHANNELPOLARITY_RISING;
  sConfigIC.ICSelection = TIM_ICSELECTION_DIRECTTI;
  sConfigIC.ICPrescaler = TIM_ICPSC_DIV1;
  sConfigIC.ICFilter = 0;
  if (HAL_TIM_IC_ConfigChannel(&htim4, &sConfigIC, TIM_CHANNEL_1) != HAL_OK)
  {
    Error_Handler();
  }
  sConfigIC.ICPolarity = TIM_INPUTCHANNELPOLARITY_FALLING;
  if (HAL_TIM_IC_ConfigChannel(&htim4, &sConfigIC, TIM_CHANNEL_2) != HAL_OK)
  {
    Error_Handler();
  }

}

static void MX_TIM8_Init(void)
{

  TIM_ClockConfigTypeDef sClockSourceConfig = {0};
  TIM_MasterConfigTypeDef sMasterConfig = {0};

  htim8.Instance = TIM8;
  htim8.Init.Prescaler = 79;
  htim8.Init.CounterMode = TIM_COUNTERMODE_UP;
  htim8.Init.Period = 79;
  htim8.Init.ClockDivision = TIM_CLOCKDIVISION_DIV1;
  htim8.Init.RepetitionCounter = 0;
  htim8.Init.AutoReloadPreload = TIM_AUTORELOAD_PRELOAD_DISABLE;
  if (HAL_TIM_Base_Init(&htim8) != HAL_OK)
  {
    Error_Handler();
  }
  sClockSourceConfig.ClockSource = TIM_CLOCKSOURCE_INTERNAL;
  if (HAL_TIM_ConfigClockSource(&htim8, &sClockSourceConfig) != HAL_OK)
  {
    Error_Handler();
  }
  sMasterConfig.MasterOutputTrigger = TIM_TRGO_UPDATE;
  sMasterConfig.MasterOutputTrigger2 = TIM_TRGO2_RESET;
  sMasterConfig.MasterSlaveMode = TIM_MASTERSLAVEMODE_DISABLE;
  if (HAL_TIMEx_MasterConfigSynchronization(&htim8, &sMasterConfig) != HAL_OK)
  {
    Error_Handler();
  }

}

static void MX_UART4_Init(void)
{

  huart4.Instance = UART4;
  huart4.Init.BaudRate = 9600;
  huart4.Init.WordLength = UART_WORDLENGTH_8B;
  huart4.Init.StopBits = UART_STOPBITS_1;
  huart4.Init.Parity = UART_PARITY_NONE;
  huart4.Init.Mode = UART_MODE_TX_RX;
  huart4.Init.HwFlowCtl = UART_HWCONTROL_NONE;
  huart4.Init.OverSampling = UART_OVERSAMPLING_16;
  huart4.Init.OneBitSampling = UART_ONE_BIT_SAMPLE_DISABLE;
  huart4.AdvancedInit.AdvFeatureInit = UART_ADVFEATURE_NO_INIT;
  if (HAL_UART_Init(&huart4) != HAL_OK)
  {
    Error_Handler();
  }

}

static void MX_UART5_Init(void)
{

  huart5.Instance = UART5;
  huart5.Init.BaudRate = 9600;
  huart5.Init.WordLength = UART_WORDLENGTH_8B;
  huart5.Init.StopBits = UART_STOPBITS_1;
  huart5.Init.Parity = UART_PARITY_NONE;
  huart5.Init.Mode = UART_MODE_TX_RX;
  huart5.Init.HwFlowCtl = UART_HWCONTROL_NONE;
  huart5.Init.OverSampling = UART_OVERSAMPLING_16;
  huart5.Init.OneBitSampling = UART_ONE_BIT_SAMPLE_DISABLE;
  huart5.AdvancedInit.AdvFeatureInit = UART_ADVFEATURE_NO_INIT;
  if (HAL_UART_Init(&huart5) != HAL_OK)
  {
    Error_Handler();
  }

}

static void MX_USART1_UART_Init(void)
{

  huart1.Instance = USART1;
  huart1.Init.BaudRate = 9600;
  huart1.Init.WordLength = UART_WORDLENGTH_8B;
  huart1.Init.StopBits = UART_STOPBITS_1;
  huart1.Init.Parity = UART_PARITY_NONE;
  huart1.Init.Mode = UART_MODE_TX_RX;
  huart1.Init.HwFlowCtl = UART_HWCONTROL_NONE;
  huart1.Init.OverSampling = UART_OVERSAMPLING_16;
  huart1.Init.OneBitSampling = UART_ONE_BIT_SAMPLE_DISABLE;
  huart1.AdvancedInit.AdvFeatureInit = UART_ADVFEATURE_NO_INIT;
  if (HAL_UART_Init(&huart1) != HAL_OK)
  {
    Error_Handler();
  }

}

static void MX_GPIO_Init(void)
{
  GPIO_InitTypeDef GPIO_InitStruct = {0};

  /* GPIO Ports Clock Enable */
  __HAL_RCC_GPIOC_CLK_ENABLE();
  __HAL_RCC_GPIOF_CLK_ENABLE();
  __HAL_RCC_GPIOA_CLK_ENABLE();
  __HAL_RCC_GPIOB_CLK_ENABLE();
  __HAL_RCC_GPIOD_CLK_ENABLE();

  /*Configure GPIO pin Output Level */
  HAL_GPIO_WritePin(LD2_GPIO_Port, LD2_Pin, GPIO_PIN_RESET);

  /*Configure GPIO pin Output Level */
  HAL_GPIO_WritePin(GPIOB, GPIO_PIN_12|GPIO_PIN_7, GPIO_PIN_RESET);

  /*Configure GPIO pin : B1_Pin */
  GPIO_InitStruct.Pin = B1_Pin;
  GPIO_InitStruct.Mode = GPIO_MODE_IT_FALLING;
  GPIO_InitStruct.Pull = GPIO_NOPULL;
  HAL_GPIO_Init(B1_GPIO_Port, &GPIO_InitStruct);

  /*Configure GPIO pins : USART_TX_Pin USART_RX_Pin */
  GPIO_InitStruct.Pin = USART_TX_Pin|USART_RX_Pin;
  GPIO_InitStruct.Mode = GPIO_MODE_AF_PP;
  GPIO_InitStruct.Pull = GPIO_NOPULL;
  GPIO_InitStruct.Speed = GPIO_SPEED_FREQ_LOW;
  GPIO_InitStruct.Alternate = GPIO_AF7_USART2;
  HAL_GPIO_Init(GPIOA, &GPIO_InitStruct);

  /*Configure GPIO pin : LD2_Pin */
  GPIO_InitStruct.Pin = LD2_Pin;
  GPIO_InitStruct.Mode = GPIO_MODE_OUTPUT_PP;
  GPIO_InitStruct.Pull = GPIO_NOPULL;
  GPIO_InitStruct.Speed = GPIO_SPEED_FREQ_LOW;
  HAL_GPIO_Init(LD2_GPIO_Port, &GPIO_InitStruct);

  /*Configure GPIO pins : PB12 PB7 */
  GPIO_InitStruct.Pin = GPIO_PIN_12|GPIO_PIN_7;
  GPIO_InitStruct.Mode = GPIO_MODE_OUTPUT_PP;
  GPIO_InitStruct.Pull = GPIO_NOPULL;
  GPIO_InitStruct.Speed = GPIO_SPEED_FREQ_LOW;
  HAL_GPIO_Init(GPIOB, &GPIO_InitStruct);

}

void Error_Handler(void)
{
}

/************************ (C) COPYRIGHT STMicroelectronics *****END OF FILE****/
